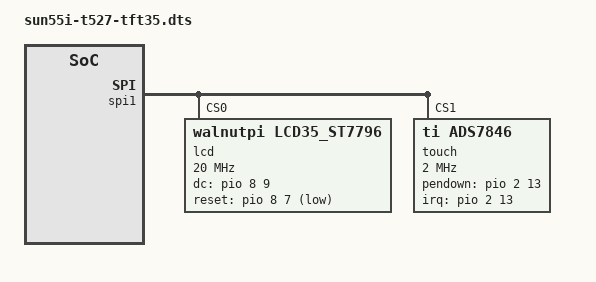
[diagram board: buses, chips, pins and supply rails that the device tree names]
/dts-v1/;
/plugin/;

// #include <dt-bindings/gpio/gpio.h>
// #include <dt-bindings/gpio/sun4i-gpio.h>
// #include <dt-bindings/leds/common.h>
/ {
	fragment@0 {
		target = <&spi1>;
		__overlay__ {
			#address-cells = <1>;
			#size-cells = <0>;
			status = "okay";
			lcd@0{
				compatible = "walnutpi,lcd35_st7796";
				reg = <0>;
				spi-max-frequency = <20000000>;
				status = "okay";
				
				dc-gpios = <&pio  8 9 0>;
				reset-gpios = <&pio 8 7 1>;
				rotate = <270>;
				buswidth = <8>;
				regwidth = <10>;
				fps = <30>;
				bgr = <0> ;
				debug = <0x00>;
			};
			
			touch@1{
				compatible = "ti,ads7846";
				reg = <0x1>;
				spi-max-frequency = <2000000>;
				status = "okay";
				
				interrupt-parent = <&pio>;
				interrupts = <2 13 8>; /* PB13 IRQ_TYPE_LEVEL_LOW */
				pendown-gpio = <&pio  2 13 0>;
				
			};
		};
	};
	
	fragment@1 {
		target = <&spi1>;
		__overlay__ {
			status = "okay";
			#address-cells = <1>;
			#size-cells = <0>;
			
			spidev@0 {
				status = "disabled";
				reg = <0x0>;
			};
			
			spidev@1 {
				status = "disabled";
				reg = <0x1>;
			};
		};
	};
};

